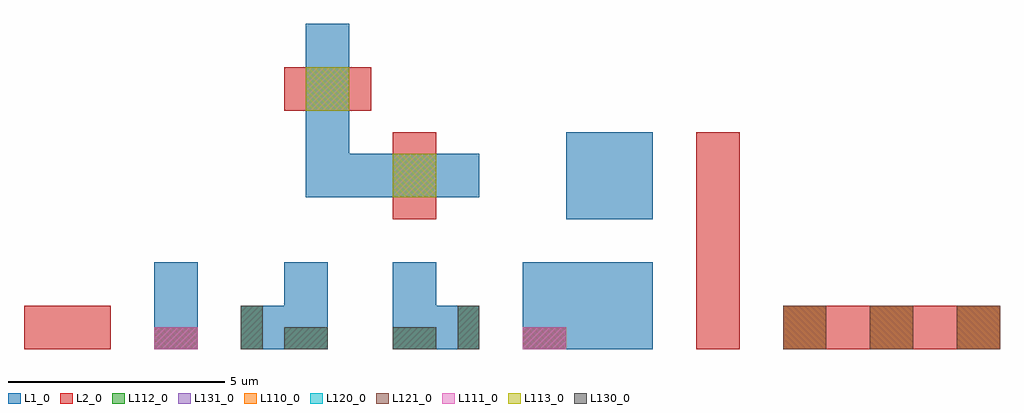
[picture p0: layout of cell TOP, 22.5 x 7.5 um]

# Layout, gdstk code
import gdstk
lib = gdstk.Library(unit=1e-6, precision=1e-09)
def R(c, l, rs):  # rectangles x0, y0, x1, y1
    for r in rs: c.add(gdstk.rectangle(r[:2], r[2:], *l))
def A(c, l, x, y, w, h, nx, ny, dx, dy):  # array of equal rectangles
    R(c, l, [(x+i*dx, y+j*dy, x+i*dx+w, y+j*dy+h) for i in range(nx) for j in range(ny)])
L1_0 = (1, 0)
L2_0 = (2, 0)
L100_0 = (100, 0)
L101_0 = (101, 0)
L110_0 = (110, 0)
L111_0 = (111, 0)
L112_0 = (112, 0)
L113_0 = (113, 0)
L120_0 = (120, 0)
L121_0 = (121, 0)
L130_0 = (130, 0)
L131_0 = (131, 0)

top = lib.new_cell('TOP')
A(top, L1_0, 9, 0, 1, 1, 3, 1, 2, 0)
R(top, L1_0, [(-5.5,0,-4.5,2), (-3.5,0,-1.5,1), (-2.5,0,-1.5,2), (0,0,1,2), (0,0,2,1), (3,0,4,2), (4,0,6,2), (4,3,6,5), (-2,3.5,-1,7.5), (-2,3.5,2,4.5)])
R(top, L2_0, [(-8.5,0,-6.5,1), (-5.5,0,-4.5,0.5), (-3.5,0,-3,1), (-2.5,0,-1.5,0.5), (0,0,1,0.5), (1.5,0,2,1), (3,0,4,0.5), (7,0,8,5), (9,0,14,1), (0,3,1,5), (-2.5,5.5,-0.5,6.5)])
A(top, L110_0, 9, 0, 1, 1, 3, 1, 2, 0)
R(top, L110_0, [(-3.5,0,-3,1), (-2.5,0,-1.5,0.5), (0,0,1,0.5), (1.5,0,2,1)])
R(top, L111_0, [(-5.5,0,-4.5,0.5), (3,0,4,0.5), (0,3.5,1,4.5), (-2,5.5,-1,6.5)])
A(top, L112_0, 9, 0, 1, 1, 3, 1, 2, 0)
R(top, L112_0, [(-5.5,0,-4.5,0.5), (-3.5,0,-3,1), (-2.5,0,-1.5,0.5), (0,0,1,0.5), (1.5,0,2,1), (3,0,4,0.5), (0,3.5,1,4.5), (-2,5.5,-1,6.5)])
R(top, L113_0, [(0,3.5,1,4.5), (-2,5.5,-1,6.5)])
R(top, L120_0, [(-3.5,0,-3,1), (-2.5,0,-1.5,0.5), (0,0,1,0.5), (1.5,0,2,1), (0,3.5,1,4.5), (-2,5.5,-1,6.5)])
A(top, L121_0, 9, 0, 1, 1, 3, 1, 2, 0)
R(top, L121_0, [(-5.5,0,-4.5,0.5), (3,0,4,0.5)])
R(top, L130_0, [(-3.5,0,-3,1), (-2.5,0,-1.5,0.5), (0,0,1,0.5), (1.5,0,2,1)])
A(top, L131_0, 9, 0, 1, 1, 3, 1, 2, 0)
R(top, L131_0, [(-5.5,0,-4.5,0.5), (-3.5,0,-3,1), (-2.5,0,-1.5,0.5), (0,0,1,0.5), (1.5,0,2,1), (3,0,4,0.5)])
top.add(gdstk.FlexPath([(-3.5,1),(-3,1)], 0, ends="flush", simple_path=True, layer=100, datatype=0))  # L100_0
top.add(gdstk.FlexPath([(-3,0),(-3.5,0)], 0, ends="flush", simple_path=True, layer=100, datatype=0))  # L100_0
top.add(gdstk.FlexPath([(-2.5,0.5),(-1.5,0.5)], 0, ends="flush", simple_path=True, layer=100, datatype=0))  # L100_0
top.add(gdstk.FlexPath([(-1.5,0),(-2.5,0)], 0, ends="flush", simple_path=True, layer=100, datatype=0))  # L100_0
top.add(gdstk.FlexPath([(-3.5,0),(-3.5,1)], 0, ends="flush", simple_path=True, layer=100, datatype=0))  # L100_0
top.add(gdstk.FlexPath([(0,0),(0,0.5)], 0, ends="flush", simple_path=True, layer=100, datatype=0))  # L100_0
top.add(gdstk.FlexPath([(-3,1),(-3,0)], 0, ends="flush", simple_path=True, layer=100, datatype=0))  # L100_0
top.add(gdstk.FlexPath([(1,0),(0,0)], 0, ends="flush", simple_path=True, layer=100, datatype=0))  # L100_0
top.add(gdstk.FlexPath([(1,0.5),(1,0)], 0, ends="flush", simple_path=True, layer=100, datatype=0))  # L100_0
top.add(gdstk.FlexPath([(2,0),(1.5,0)], 0, ends="flush", simple_path=True, layer=100, datatype=0))  # L100_0
top.add(gdstk.FlexPath([(0,0.5),(1,0.5)], 0, ends="flush", simple_path=True, layer=100, datatype=0))  # L100_0
top.add(gdstk.FlexPath([(2,1),(2,0)], 0, ends="flush", simple_path=True, layer=100, datatype=0))  # L100_0
top.add(gdstk.FlexPath([(-2.5,0),(-2.5,0.5)], 0, ends="flush", simple_path=True, layer=100, datatype=0))  # L100_0
top.add(gdstk.FlexPath([(1.5,1),(2,1)], 0, ends="flush", simple_path=True, layer=100, datatype=0))  # L100_0
top.add(gdstk.FlexPath([(-1.5,0.5),(-1.5,0)], 0, ends="flush", simple_path=True, layer=100, datatype=0))  # L100_0
top.add(gdstk.FlexPath([(1.5,0),(1.5,1)], 0, ends="flush", simple_path=True, layer=100, datatype=0))  # L100_0
top.add(gdstk.FlexPath([(9,1),(10,1)], 0, ends="flush", simple_path=True, layer=101, datatype=0))  # L101_0
top.add(gdstk.FlexPath([(10,1),(10,0)], 0, ends="flush", simple_path=True, layer=101, datatype=0))  # L101_0
top.add(gdstk.FlexPath([(10,0),(9,0)], 0, ends="flush", simple_path=True, layer=101, datatype=0))  # L101_0
top.add(gdstk.FlexPath([(11,0),(11,1)], 0, ends="flush", simple_path=True, layer=101, datatype=0))  # L101_0
top.add(gdstk.FlexPath([(11,1),(12,1)], 0, ends="flush", simple_path=True, layer=101, datatype=0))  # L101_0
top.add(gdstk.FlexPath([(1.5,0),(1.5,1)], 0, ends="flush", simple_path=True, layer=101, datatype=0))  # L101_0
top.add(gdstk.FlexPath([(12,0),(11,0)], 0, ends="flush", simple_path=True, layer=101, datatype=0))  # L101_0
top.add(gdstk.FlexPath([(-1.5,0.5),(-1.5,0)], 0, ends="flush", simple_path=True, layer=101, datatype=0))  # L101_0
top.add(gdstk.FlexPath([(2,1),(2,0)], 0, ends="flush", simple_path=True, layer=101, datatype=0))  # L101_0
top.add(gdstk.FlexPath([(4,0),(3,0)], 0, ends="flush", simple_path=True, layer=101, datatype=0))  # L101_0
top.add(gdstk.FlexPath([(0,0),(0,0.5)], 0, ends="flush", simple_path=True, layer=101, datatype=0))  # L101_0
top.add(gdstk.FlexPath([(-3.5,0),(-3.5,1)], 0, ends="flush", simple_path=True, layer=101, datatype=0))  # L101_0
top.add(gdstk.FlexPath([(1.5,1),(2,1)], 0, ends="flush", simple_path=True, layer=101, datatype=0))  # L101_0
top.add(gdstk.FlexPath([(-2.5,0),(-2.5,0.5)], 0, ends="flush", simple_path=True, layer=101, datatype=0))  # L101_0
top.add(gdstk.FlexPath([(3,0.5),(4,0.5)], 0, ends="flush", simple_path=True, layer=101, datatype=0))  # L101_0
top.add(gdstk.FlexPath([(0,0.5),(1,0.5)], 0, ends="flush", simple_path=True, layer=101, datatype=0))  # L101_0
top.add(gdstk.FlexPath([(13,0),(13,1)], 0, ends="flush", simple_path=True, layer=101, datatype=0))  # L101_0
top.add(gdstk.FlexPath([(2,0),(1.5,0)], 0, ends="flush", simple_path=True, layer=101, datatype=0))  # L101_0
top.add(gdstk.FlexPath([(1,0.5),(1,0)], 0, ends="flush", simple_path=True, layer=101, datatype=0))  # L101_0
top.add(gdstk.FlexPath([(-3,1),(-3,0)], 0, ends="flush", simple_path=True, layer=101, datatype=0))  # L101_0
top.add(gdstk.FlexPath([(-4.5,0),(-5.5,0)], 0, ends="flush", simple_path=True, layer=101, datatype=0))  # L101_0
top.add(gdstk.FlexPath([(4,0.5),(4,0)], 0, ends="flush", simple_path=True, layer=101, datatype=0))  # L101_0
top.add(gdstk.FlexPath([(12,1),(12,0)], 0, ends="flush", simple_path=True, layer=101, datatype=0))  # L101_0
top.add(gdstk.FlexPath([(-2.5,0.5),(-1.5,0.5)], 0, ends="flush", simple_path=True, layer=101, datatype=0))  # L101_0
top.add(gdstk.FlexPath([(1,0),(0,0)], 0, ends="flush", simple_path=True, layer=101, datatype=0))  # L101_0
top.add(gdstk.FlexPath([(-3,0),(-3.5,0)], 0, ends="flush", simple_path=True, layer=101, datatype=0))  # L101_0
top.add(gdstk.FlexPath([(-3.5,1),(-3,1)], 0, ends="flush", simple_path=True, layer=101, datatype=0))  # L101_0
top.add(gdstk.FlexPath([(-4.5,0.5),(-4.5,0)], 0, ends="flush", simple_path=True, layer=101, datatype=0))  # L101_0
top.add(gdstk.FlexPath([(3,0),(3,0.5)], 0, ends="flush", simple_path=True, layer=101, datatype=0))  # L101_0
top.add(gdstk.FlexPath([(-1.5,0),(-2.5,0)], 0, ends="flush", simple_path=True, layer=101, datatype=0))  # L101_0
top.add(gdstk.FlexPath([(14,0),(13,0)], 0, ends="flush", simple_path=True, layer=101, datatype=0))  # L101_0
top.add(gdstk.FlexPath([(9,0),(9,1)], 0, ends="flush", simple_path=True, layer=101, datatype=0))  # L101_0
top.add(gdstk.FlexPath([(-5.5,0.5),(-4.5,0.5)], 0, ends="flush", simple_path=True, layer=101, datatype=0))  # L101_0
top.add(gdstk.FlexPath([(-5.5,0),(-5.5,0.5)], 0, ends="flush", simple_path=True, layer=101, datatype=0))  # L101_0
top.add(gdstk.FlexPath([(14,1),(14,0)], 0, ends="flush", simple_path=True, layer=101, datatype=0))  # L101_0
top.add(gdstk.FlexPath([(13,1),(14,1)], 0, ends="flush", simple_path=True, layer=101, datatype=0))  # L101_0

lib.write_gds('TOP.gds')
